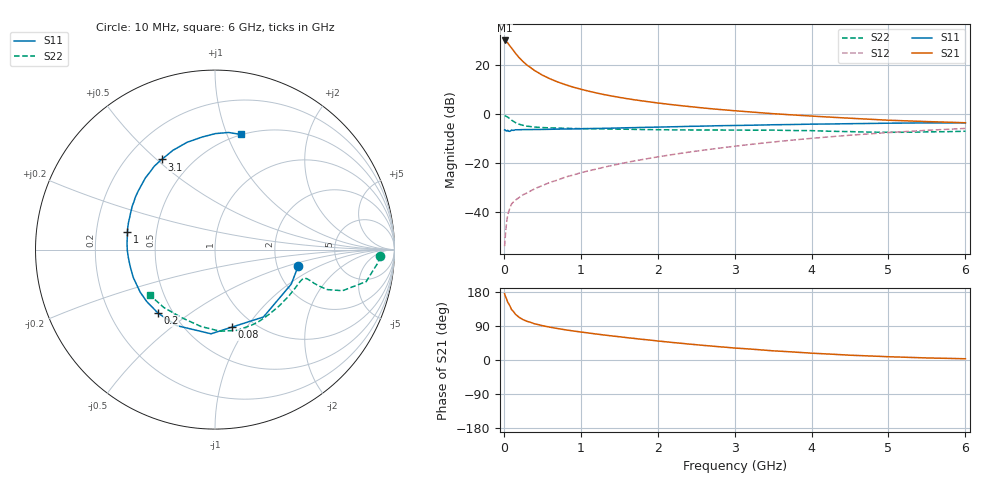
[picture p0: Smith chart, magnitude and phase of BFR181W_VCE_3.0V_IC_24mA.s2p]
! Infineon Technologies  Discrete & RF Semiconductors
! BFR181W
! VCE =  3.0 V,  IC =  24 mA
! Common Emitter S-Parameters:  Jan 2017
# GHz  S  MA  R  50
!  f  S11  S21  S12  S22
! GHz  MAG  ANG  MAG  ANG  MAG  ANG  MAG  ANG
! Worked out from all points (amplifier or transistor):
!   77 points, 10 MHz to 6 GHz, reference 50 ohm
!   highest |S21| = 30.0 dB at 10 MHz (marker M1)
!   |S21| within 3 dB of that: start of sweep to 98.31 MHz
!   unconditionally stable (mu >= 1): 329.4 MHz to 2.703 GHz
!   at 130 MHz: K = 0.59, MSG = 30.7 dB, |S12| = -35.8 dB
!   at 2.2 GHz: K = 1.09, MAG = 8.3 dB, |S12| = -16.6 dB
!   at 6 GHz: K = 0.95, MSG = 1.2 dB, |S12| = -5.9 dB
!   S11 on the Smith chart (normalised r, x): 10 MHz: 2.63, -0.62; 80 MHz: 0.80, -0.86; 200 MHz: 0.42, -0.38; 1 GHz: 0.34, +0.09; 3.1 GHz: 0.34, +0.52; 6 GHz: 0.49, +1.12
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0.01  0.4729 -11.1  31.52 174.8  0.002 76.0  0.9226 -2.3
0.02  0.4663 -24.4  31 168.4  0.0033 83.1  0.9093 -4.8
0.05  0.4625 -54.3  28.09 152.9  0.0086 70.2  0.8606 -12.0
0.08  0.4419 -77.6  24.17 142.2  0.0121 64.0  0.7907 -15.3
0.1  0.4696 -92.7  22.16 133.2  0.0145 61.6  0.7458 -17.9
0.15  0.4745 -116.9  17.38 121.0  0.0174 58.0  0.665 -19.6
0.2  0.4753 -132.0  13.98 112.4  0.0197 58.3  0.6148 -19.3
0.25  0.478 -142.8  11.65 106.5  0.0224 57.9  0.584 -18.8
0.3  0.4796 -150.5  9.92 102.1  0.0243 61.1  0.5619 -18.1
0.4  0.4813 -161.4  7.649 95.5  0.0296 63.9  0.5394 -17.6
0.5  0.4819 -169.0  6.185 90.6  0.0344 66.8  0.5266 -17.7
0.6  0.485 -175.0  5.203 86.6  0.0401 69.5  0.5192 -18.1
0.7  0.4888 -179.8  4.485 83.0  0.0447 71.5  0.5134 -18.8
0.8  0.4914 175.8  3.948 79.7  0.0514 73.5  0.509 -19.9
1  0.4974 168.7  3.194 73.9  0.063 75.7  0.5015 -22.4
1.1  0.5018 165.4  2.915 71.3  0.0688 76.0  0.4989 -23.7
1.5  0.5164 154.4  2.175 61.4  0.0954 77.9  0.4877 -30.3
2.1  0.5418 140.3  1.601 48.2  0.1405 77.4  0.4741 -42.6
3.1  0.5833 120.5  1.129 30.3  0.2282 71.3  0.4664 -65.6
4.1  0.6196 102.9  0.884 17.0  0.3268 61.6  0.4496 -89.0
5.1  0.6478 88.5  0.734 8.0  0.4247 49.8  0.4214 -119.0
6  0.6573 77.5  0.66 3.3  0.506 38.5  0.443 -145.2
